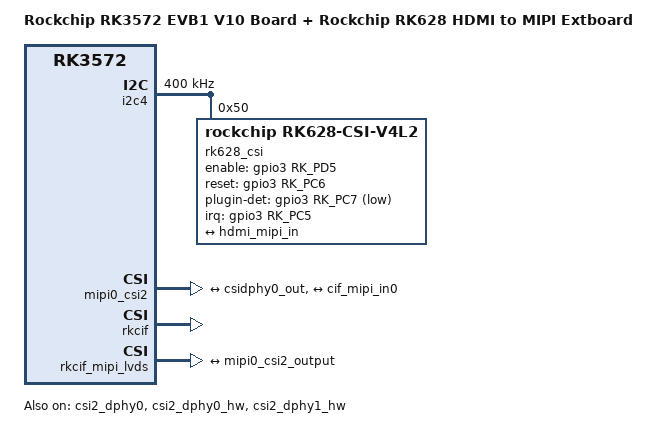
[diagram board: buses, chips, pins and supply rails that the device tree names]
// SPDX-License-Identifier: (GPL-2.0+ OR MIT)
/*
 * Copyright (c) 2026 Rockchip Electronics Co., Ltd.
 */

/dts-v1/;

#include "rk3572-evb1-v10.dtsi"
#include "rk3572-android.dtsi"

/ {
	model = "Rockchip RK3572 EVB1 V10 Board + Rockchip RK628 HDMI to MIPI Extboard";
	compatible = "rockchip,rk3572-evb1-v10", "rockchip,rk3572";

	rk628_dc: rk628-dc {
		compatible = "rockchip,dummy-codec";
		#sound-dai-cells = <0>;
	};

	rkvtunnel: rkvtunnel {
		compatible = "rockchip,video-tunnel";
		status = "okay";
	};

	hdmiin_sound: hdmiin-sound {
		status = "okay";
		compatible = "rockchip,hdmi";
		rockchip,mclk-fs = <128>;
		rockchip,card-name = "rockchip,rk628hdmiin";
		rockchip,cpu = <&sai4>;
		rockchip,codec = <&rk628_csi>;
		rockchip,bitclock-master = <&rk628_csi>;
		rockchip,frame-master = <&rk628_csi>;
		rockchip,jack-det;
	};
};

&csi2_dphy0 {
	status = "okay";

	ports {
		#address-cells = <1>;
		#size-cells = <0>;
		port@0 {
			reg = <0>;
			#address-cells = <1>;
			#size-cells = <0>;

			hdmi_mipi_in: endpoint@1 {
				reg = <1>;
				remote-endpoint = <&hdmiin_out>;
				data-lanes = <1 2 3 4>;
			};
		};
		port@1 {
			reg = <1>;
			#address-cells = <1>;
			#size-cells = <0>;

			csidphy0_out: endpoint@0 {
				reg = <0>;
				remote-endpoint = <&mipi0_csi2_input>;
			};
		};
	};
};

&csi2_dphy0_hw {
	status = "okay";
};

&csi2_dphy1_hw {
	status = "okay";
};

&i2c4 {
	status = "okay";
	pinctrl-0 = <&i2c4m3_xfer_pins>;
	clock-frequency = <400000>;

	rk628_csi: rk628_csi@50 {
		reg = <0x50>;
		compatible = "rockchip,rk628-csi-v4l2";
		status = "okay";
		power-domains = <&power RK3572_PD_VI>;
		pinctrl-names = "default";
		pinctrl-0 = <&rk628_pin>;
		interrupt-parent = <&gpio3>;
		interrupts = <RK_PC5 IRQ_TYPE_LEVEL_HIGH>;
		enable-gpios = <&gpio3 RK_PD5 GPIO_ACTIVE_HIGH>;
		reset-gpios = <&gpio3 RK_PC6 GPIO_ACTIVE_HIGH>;
		plugin-det-gpios = <&gpio3 RK_PC7 GPIO_ACTIVE_LOW>;
		continues-clk = <1>;
		cec-enable;
		#sound-dai-cells = <0>;

		rockchip,camera-module-index = <0>;
		rockchip,camera-module-facing = "back";
		rockchip,camera-module-name = "HDMI-MIPI";
		rockchip,camera-module-lens-name = "RK628-CSI";

		multi-dev-info {
			dev-idx-l = <0>;
			dev-idx-r = <2>;
			combine-idx = <0>;
			pixel-offset = <0>;
			dev-num = <2>;
		};

		port {
			hdmiin_out: endpoint {
				remote-endpoint = <&hdmi_mipi_in>;
				data-lanes = <1 2 3 4>;
			};
		};
	};
};

&mipi0_csi2 {
	status = "okay";

	ports {
		#address-cells = <1>;
		#size-cells = <0>;

		port@0 {
			reg = <0>;
			#address-cells = <1>;
			#size-cells = <0>;

			mipi0_csi2_input: endpoint@1 {
				reg = <1>;
				remote-endpoint = <&csidphy0_out>;
			};
		};

		port@1 {
			reg = <1>;
			#address-cells = <1>;
			#size-cells = <0>;

			mipi0_csi2_output: endpoint@0 {
				reg = <0>;
				remote-endpoint = <&cif_mipi_in0>;
			};
		};
	};
};

&rkcif {
	status = "okay";
};

&rkcif_mipi_lvds {
	status = "okay";

	port {
		cif_mipi_in0: endpoint {
			remote-endpoint = <&mipi0_csi2_output>;
		};
	};
};

&rkcif_mmu {
	status = "okay";
};

&vcc_mipicsi0 {
	/delete-property/ gpio;
	/delete-property/ pinctrl-0;
};

&vcc_mipicsi1 {
	/delete-property/ gpio;
	/delete-property/ pinctrl-0;
};

&pinctrl {
	hdmiin {
		rk628_pin: rk628-pin {
			rockchip,pins = <3 RK_PC5 RK_FUNC_GPIO &pcfg_pull_none>,
					<3 RK_PC6 RK_FUNC_GPIO &pcfg_pull_none>,
					<3 RK_PC7 RK_FUNC_GPIO &pcfg_pull_none>,
					<3 RK_PD5 RK_FUNC_GPIO &pcfg_pull_none>;
		};
	};
};
